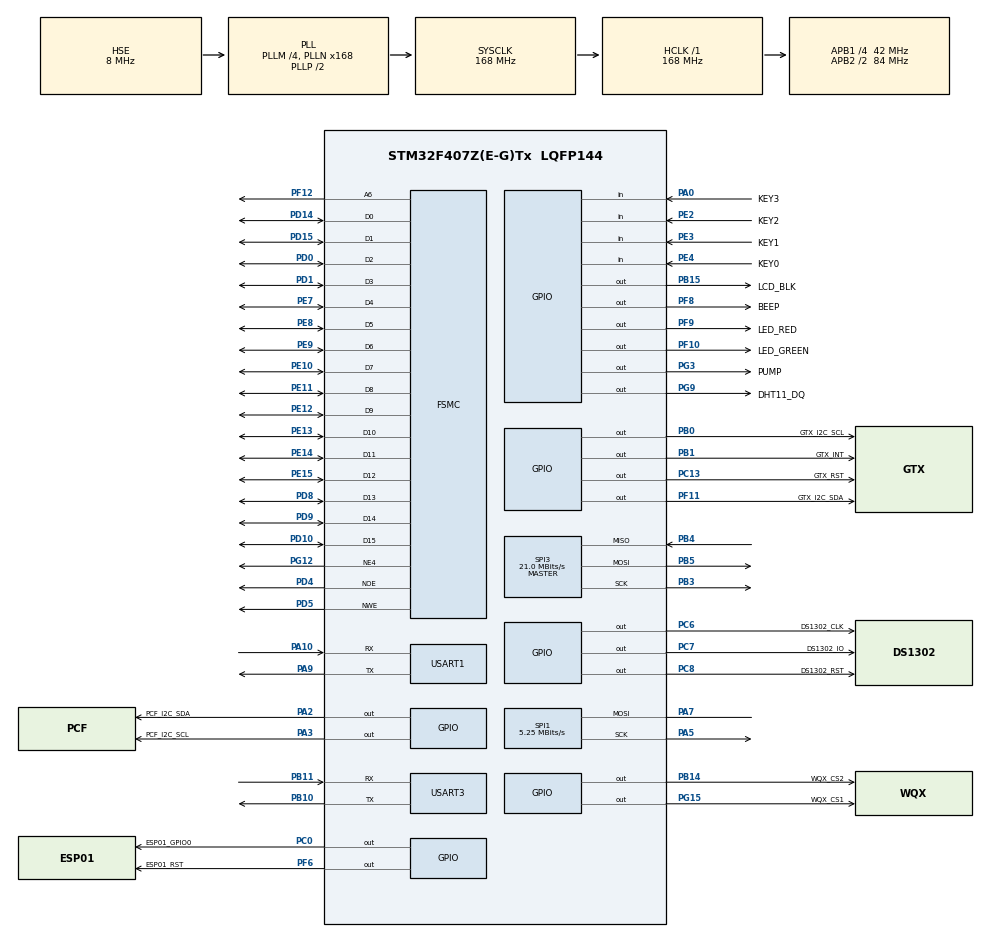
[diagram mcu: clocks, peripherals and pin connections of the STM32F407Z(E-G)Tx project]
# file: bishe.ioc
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Dma.Request0=SPI1_TX
Dma.SPI1_TX.0.Direction=DMA_MEMORY_TO_PERIPH
Dma.SPI1_TX.0.FIFOMode=DMA_FIFOMODE_DISABLE
Dma.SPI1_TX.0.Instance=DMA2_Stream3
Dma.SPI1_TX.0.MemDataAlignment=DMA_MDATAALIGN_BYTE
Dma.SPI1_TX.0.MemInc=DMA_MINC_ENABLE
Dma.SPI1_TX.0.Mode=DMA_NORMAL
Dma.SPI1_TX.0.PeriphDataAlignment=DMA_PDATAALIGN_BYTE
Dma.SPI1_TX.0.PeriphInc=DMA_PINC_DISABLE
Dma.SPI1_TX.0.Priority=DMA_PRIORITY_HIGH
FSMC.BusTurnAroundDuration1=0
FSMC.DataSetupTime1=60
FSMC.ExtendedAddressSetupTime1=9
FSMC.ExtendedBusTurnAroundDuration1=0
FSMC.ExtendedDataSetupTime1=9
FSMC.ExtendedMode1=FSMC_EXTENDED_MODE_ENABLE
Mcu.Family=STM32F4
Mcu.Name=STM32F407Z(E-G)Tx
Mcu.Package=LQFP144
NVIC.DMA2_Stream3_IRQn=true\:0\:0\:false\:false\:true\:false\:true\:true
NVIC.PriorityGroup=NVIC_PRIORITYGROUP_4
NVIC.TIM3_IRQn=true\:5\:0\:true\:false\:true\:true\:true\:true
NVIC.USART3_IRQn=true\:3\:0\:true\:false\:true\:true\:true\:true
PA0-WKUP.GPIO_Label=KEY3
PA0-WKUP.GPIO_PuPd=GPIO_PULLDOWN
PA0-WKUP.Signal=GPIO_Input
PA10.Mode=Asynchronous
PA10.Signal=USART1_RX
PA13.Mode=Serial_Wire
PA13.Signal=SYS_JTMS-SWDIO
PA14.Mode=Serial_Wire
PA14.Signal=SYS_JTCK-SWCLK
PA2.GPIO_Label=PCF_I2C_SDA
PA2.GPIO_ModeDefaultOutputPP=GPIO_MODE_OUTPUT_OD
PA2.GPIO_PuPd=GPIO_PULLUP
PA2.GPIO_Speed=GPIO_SPEED_FREQ_VERY_HIGH
PA2.Signal=GPIO_Output
PA3.GPIO_Label=PCF_I2C_SCL
PA3.GPIO_ModeDefaultOutputPP=GPIO_MODE_OUTPUT_OD
PA3.GPIO_PuPd=GPIO_PULLUP
PA3.GPIO_Speed=GPIO_SPEED_FREQ_VERY_HIGH
PA3.Signal=GPIO_Output
PA5.Mode=Simplex_Bidirectional_Master
PA5.Signal=SPI1_SCK
PA7.Mode=Simplex_Bidirectional_Master
PA7.Signal=SPI1_MOSI
PA9.Mode=Asynchronous
PA9.Signal=USART1_TX
PB0.GPIO_Label=GTX_I2C_SCL
PB0.GPIO_ModeDefaultOutputPP=GPIO_MODE_OUTPUT_OD
PB0.GPIO_PuPd=GPIO_PULLUP
PB0.GPIO_Speed=GPIO_SPEED_FREQ_VERY_HIGH
PB0.Signal=GPIO_Output
PB1.GPIO_Label=GTX_INT
PB1.GPIO_Speed=GPIO_SPEED_FREQ_HIGH
PB1.Signal=GPIO_Output
PB10.Mode=Asynchronous
PB10.Signal=USART3_TX
PB11.Mode=Asynchronous
PB11.Signal=USART3_RX
PB14.GPIO_Label=WQX_CS2
PB14.GPIO_PuPd=GPIO_PULLUP
PB14.GPIO_Speed=GPIO_SPEED_FREQ_VERY_HIGH
PB14.Signal=GPIO_Output
PB15.GPIO_Label=LCD_BLK
PB15.Signal=GPIO_Output
PB3.Mode=Full_Duplex_Master
PB3.Signal=SPI3_SCK
PB4.Mode=Full_Duplex_Master
PB4.Signal=SPI3_MISO
PB5.Mode=Full_Duplex_Master
PB5.Signal=SPI3_MOSI
PC0.GPIO_Label=ESP01_GPIO0
PC0.GPIO_PuPd=GPIO_PULLUP
PC0.GPIO_Speed=GPIO_SPEED_FREQ_HIGH
PC0.PinState=GPIO_PIN_SET
PC0.Signal=GPIO_Output
PC13-ANTI_TAMP.GPIO_Label=GTX_RST
PC13-ANTI_TAMP.Signal=GPIO_Output
PC6.GPIO_Label=DS1302_CLK
PC6.GPIO_Speed=GPIO_SPEED_FREQ_VERY_HIGH
PC6.Signal=GPIO_Output
PC7.GPIO_Label=DS1302_IO
PC7.GPIO_ModeDefaultOutputPP=GPIO_MODE_OUTPUT_PP
PC7.GPIO_PuPd=GPIO_NOPULL
PC7.GPIO_Speed=GPIO_SPEED_FREQ_VERY_HIGH
PC7.Signal=GPIO_Output
PC8.GPIO_Label=DS1302_RST
PC8.GPIO_Speed=GPIO_SPEED_FREQ_VERY_HIGH
PC8.Signal=GPIO_Output
PD0.Signal=FSMC_D2_DA2
PD1.Signal=FSMC_D3_DA3
PD10.Signal=FSMC_D15_DA15
PD14.Signal=FSMC_D0_DA0
PD15.Signal=FSMC_D1_DA1
PD4.Signal=FSMC_NOE
PD5.Signal=FSMC_NWE
PD8.Signal=FSMC_D13_DA13
PD9.Signal=FSMC_D14_DA14
PE10.Signal=FSMC_D7_DA7
PE11.Signal=FSMC_D8_DA8
PE12.Signal=FSMC_D9_DA9
PE13.Signal=FSMC_D10_DA10
PE14.Signal=FSMC_D11_DA11
PE15.Signal=FSMC_D12_DA12
PE2.GPIO_Label=KEY2
PE2.GPIO_PuPd=GPIO_PULLUP
PE2.Signal=GPIO_Input
PE3.GPIO_Label=KEY1
PE3.GPIO_PuPd=GPIO_PULLUP
PE3.Signal=GPIO_Input
PE4.GPIO_Label=KEY0
PE4.GPIO_PuPd=GPIO_PULLUP
PE4.Signal=GPIO_Input
PE7.Signal=FSMC_D4_DA4
PE8.Signal=FSMC_D5_DA5
PE9.Signal=FSMC_D6_DA6
PF10.GPIO_Label=LED_GREEN
PF10.Signal=GPIO_Output
PF11.GPIO_Label=GTX_I2C_SDA
PF11.GPIO_ModeDefaultOutputPP=GPIO_MODE_OUTPUT_OD
PF11.GPIO_PuPd=GPIO_PULLUP
PF11.GPIO_Speed=GPIO_SPEED_FREQ_VERY_HIGH
PF11.Signal=GPIO_Output
PF12.Signal=FSMC_A6
PF6.GPIO_Label=ESP01_RST
PF6.GPIO_PuPd=GPIO_PULLUP
PF6.GPIO_Speed=GPIO_SPEED_FREQ_HIGH
PF6.PinState=GPIO_PIN_SET
PF6.Signal=GPIO_Output
PF8.GPIO_Label=BEEP
PF8.Signal=GPIO_Output
PF9.GPIO_Label=LED_RED
PF9.Signal=GPIO_Output
PG12.Mode=NorPsramChipSelect4_1
PG12.Signal=FSMC_NE4
PG15.GPIO_Label=WQX_CS1
PG15.GPIO_PuPd=GPIO_PULLUP
PG15.GPIO_Speed=GPIO_SPEED_FREQ_VERY_HIGH
PG15.Signal=GPIO_Output
PG3.GPIO_Label=PUMP
PG3.Signal=GPIO_Output
PG9.GPIO_Label=DHT11_DQ
PG9.GPIO_ModeDefaultOutputPP=GPIO_MODE_OUTPUT_OD
PG9.GPIO_PuPd=GPIO_PULLUP
PG9.GPIO_Speed=GPIO_SPEED_FREQ_VERY_HIGH
PG9.Signal=GPIO_Output
PH0-OSC_IN.Mode=HSE-External-Oscillator
PH0-OSC_IN.Signal=RCC_OSC_IN
PH1-OSC_OUT.Mode=HSE-External-Oscillator
PH1-OSC_OUT.Signal=RCC_OSC_OUT
ProjectManager.HeapSize=0x10
ProjectManager.StackSize=0x1000
ProjectManager.TargetToolchain=STM32CubeIDE
RCC.48MHZClocksFreq_Value=84000000
RCC.AHBFreq_Value=168000000
RCC.APB1CLKDivider=RCC_HCLK_DIV4
RCC.APB1Freq_Value=42000000
RCC.APB1TimFreq_Value=84000000
RCC.APB2CLKDivider=RCC_HCLK_DIV2
RCC.APB2Freq_Value=84000000
RCC.APB2TimFreq_Value=168000000
RCC.CortexFreq_Value=168000000
RCC.HCLKFreq_Value=168000000
RCC.HSE_VALUE=8000000
RCC.HSI_VALUE=16000000
RCC.LSE_VALUE=32768
RCC.PLLM=4
RCC.PLLN=168
RCC.PLLSourceVirtual=RCC_PLLSOURCE_HSE
RCC.SYSCLKFreq_VALUE=168000000
RCC.SYSCLKSource=RCC_SYSCLKSOURCE_PLLCLK
RCC.VCOOutputFreq_Value=336000000
SH.FSMC_A6.0=FSMC_A6,A6_1
SH.FSMC_D0_DA0.0=FSMC_D0,16b-d1
SH.FSMC_D10_DA10.0=FSMC_D10,16b-d1
SH.FSMC_D11_DA11.0=FSMC_D11,16b-d1
SH.FSMC_D12_DA12.0=FSMC_D12,16b-d1
SH.FSMC_D13_DA13.0=FSMC_D13,16b-d1
SH.FSMC_D14_DA14.0=FSMC_D14,16b-d1
SH.FSMC_D15_DA15.0=FSMC_D15,16b-d1
SH.FSMC_D1_DA1.0=FSMC_D1,16b-d1
SH.FSMC_D2_DA2.0=FSMC_D2,16b-d1
SH.FSMC_D3_DA3.0=FSMC_D3,16b-d1
SH.FSMC_D4_DA4.0=FSMC_D4,16b-d1
SH.FSMC_D5_DA5.0=FSMC_D5,16b-d1
SH.FSMC_D6_DA6.0=FSMC_D6,16b-d1
SH.FSMC_D7_DA7.0=FSMC_D7,16b-d1
SH.FSMC_D8_DA8.0=FSMC_D8,16b-d1
SH.FSMC_D9_DA9.0=FSMC_D9,16b-d1
SH.FSMC_NOE.0=FSMC_NOE,Lcd1
SH.FSMC_NWE.0=FSMC_NWE,Lcd1
SPI1.BaudRatePrescaler=SPI_BAUDRATEPRESCALER_16
SPI1.CLKPhase=SPI_PHASE_2EDGE
SPI1.CLKPolarity=SPI_POLARITY_HIGH
SPI1.CalculateBaudRate=5.25 MBits/s
SPI1.Direction=SPI_DIRECTION_1LINE
SPI1.Mode=SPI_MODE_MASTER
SPI1.VirtualType=VM_MASTER
SPI3.BaudRatePrescaler=SPI_BAUDRATEPRESCALER_2
SPI3.CalculateBaudRate=21.0 MBits/s
SPI3.Direction=SPI_DIRECTION_2LINES
SPI3.Mode=SPI_MODE_MASTER
SPI3.VirtualType=VM_MASTER
TIM3.Period=5000-1
TIM3.Prescaler=84-1
USART1.VirtualMode=VM_ASYNC
USART3.VirtualMode=VM_ASYNC
VP_TIM3_VS_ClockSourceINT.Mode=Internal
board=custom

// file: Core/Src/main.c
/* USER CODE BEGIN Header */
/**
  ******************************************************************************
  * @file           : main.c
  * @brief          : Main program body
  ******************************************************************************
  * @attention
  *
  * Copyright (c) 2024 STMicroelectronics.
  * All rights reserved.
  *
  * This software is licensed under terms that can be found in the LICENSE file
  * in the root directory of this software component.
  * If no LICENSE file comes with this software, it is provided AS-IS.
  *
  ******************************************************************************
  */
/* USER CODE END Header */
#include "main.h"
#include "dma.h"
#include "spi.h"
#include "tim.h"
#include "usart.h"
#include "gpio.h"
#include "fsmc.h"

/* USER CODE BEGIN Includes */
#include "w25qxx.h"
#include <stdio.h>
#include "sys.h"
#include "lcd.h"
#include "led.h"
#include "key.h"
#include "lv_conf.h"
#include "lvgl.h"
#include "lv_port_disp_template.h"
#include "lv_port_indev_template.h"
#include "fsmain.h"
#include "gt9xxx.h"
#include "gui.h"
#include "dht11.h"
#include "sensor_adc.h"
#include "myiic.h"
#include "ds1302.h"
#include "iot_mqtt.h"
#include "cJSON.h"
#include "beep.h"
#include "ws2812.h"
#include "pump.h"
/* USER CODE END Includes */

void SystemClock_Config(void);

/* USER CODE BEGIN PFP */
extern void myLvglTimerTask(lv_timer_t *tmr);
bool alert_cmp(uint8_t hur, uint8_t min, uint8_t hold_min, uint8_t hold_sec);

/* USER CODE END PFP */

/* USER CODE BEGIN 0 */
SysInfoType SysInfo;
__IO uint16_t tick = 0;
__IO uint8_t time_data[6];
__IO uint8_t start_connect_wifi = 0;
__IO uint8_t wifi_connected_flag = 0; //0默认未连接，1连接成功2连接失败3已经连接
__IO uint8_t LvglDataUpdateFlag = 0;
__IO uint8_t IsReceiveMQTTMsg = 0;
__IO uint8_t dht11_rety_flag = 0;
__IO uint8_t IsTimeUpdate = 0;
__IO uint8_t IsIoTControl = 0;
const char *got_wifi_name = NULL;
const char *got_wifi_psd = NULL;
extern struct __mqtt_receive_info mqtt_recv_info;
extern struct __Head_alert_Info Head_alert_info;

/* USER CODE END 0 */

int main(void) {

  /* MCU Configuration--------------------------------------------------------*/

  /* Reset of all peripherals, Initializes the Flash interface and the Systick. */
  HAL_Init();

  /* Configure the system clock */
  SystemClock_Config();

  /* Initialize all configured peripherals */
  MX_GPIO_Init();
  MX_DMA_Init();
  MX_SPI3_Init();
  MX_USART1_UART_Init();
  MX_TIM3_Init();
  MX_FSMC_Init();
  MX_USART3_UART_Init();
  MX_SPI1_Init();
  /* USER CODE BEGIN 2 */
  iic_init();
  gt9xxx_init();
  led_off();
  WQX_Init();
  lcd_init();
  fs_init();
  DS1302_init();
  if (dht11_init() == 0) {
    printf("dht11 OK\r\n");
  } else
    printf("dht11 error\r\n");

  /// 初始化系统参数
  beep(0);
  pump(0);
  ws2812_led(0);
  SysInfo.sys_mode = 0;
  SysInfo.air_temp_up = 30;
  SysInfo.light_down = 40;
  SysInfo.soil_humid_down = 10;

  /// 锁存ESP模块RST和GPIO0引脚
  HAL_GPIO_LockPin(ESP01_GPIO0_GPIO_Port, ESP01_GPIO0_Pin);
  HAL_GPIO_LockPin(ESP01_RST_GPIO_Port, ESP01_RST_Pin);

  /// 开启串口中断，自动搬运数据至接收缓冲区
  HAL_UART_Receive_IT(&huart3, ut_rx, 1);

  /// LVGL输入输出设备初始化
  lv_init();
  lv_port_disp_init();
  lv_port_indev_init();

  /// lvgl 定时任务
  HAL_TIM_Base_Start_IT(&htim3); //5ms

  /// lvgl 数据刷新任务
  lv_timer_create(myLvglTimerTask, 100, NULL);

  /// Gui界面初始化
  gui_init();

  /// cJson使用 lvgl内存管理函数
  cJSON_Hooks hooks = {lv_mem_alloc, lv_mem_free};
  cJSON_InitHooks(&hooks);

  /* USER CODE END 2 */

  /* Infinite loop */
  while (1) {

    /* USER CODE BEGIN 3 */
    delay_ms(1);

    /// 扫描键盘
    if (tick % 100 == 0) {
      /// uint32_t st = HAL_GetTick();
      update_key();
      /// printf("getkey polling time:%ld\r\n", HAL_GetTick()-st);
    }

    /// 读取DHT11温湿度数据
    if (tick % 500 == 100) {
      ///  dht11_rety_flag ^= 0x01;
      /// uint32_t st = HAL_GetTick();
      dht11_read_data(&SysInfo.air_temp, &SysInfo.air_humid);
      /// printf("temp:%d  humi:%d\r\n", SysInfo.air_temp, SysInfo.air_humid);
      /// printf("dht11 polling time:%ld\r\n", HAL_GetTick()-st);
    }

    /// 读取AD转换值
    if (tick % 500 == 300) {
      /// uint32_t st = HAL_GetTick();
      extern uint8_t ADConver_Res[4];
      PCF_Get_ADC();
      SysInfo.air_light = (256 - ADConver_Res[2]) / 256.0f * 100.0f;
      SysInfo.soil_humid = (256 - ADConver_Res[0]) / 256.0f * 100.0f;
      /// printf("pcf polling time:%ld\r\n", HAL_GetTick()-st);
      /// printf("%d %d %d %d\r\n", ADConver_Res[0], ADConver_Res[1], ADConver_Res[2], ADConver_Res[3]);
      /// printf("light:%d humi:%d\r\n", SysInfo.air_light, SysInfo.soil_humid);
    }

    /// 读取实时时间
    if (tick % 500 == 200) {
      /// uint32_t st = HAL_GetTick();
      DS1302_Readtime();
      SysInfo.hur = time_data[3];
      SysInfo.min = time_data[4];
      SysInfo.sec = time_data[5];
      /// 给LVGL 信号量刷新时
      IsTimeUpdate = 1;
      /// printf("ds1302 polling time:%ld\r\n", HAL_GetTick()-st);
      /// printf("%d %d %d %d %d %d \r\n", time_data[0],time_data[1],time_data[2],time_data[3],time_data[4],time_data[5]);
    }

    /// 开始连接Wi-Fi
    if (start_connect_wifi) {
      start_connect_wifi = 0;
      uint8_t res = WiFi_connect(got_wifi_name, got_wifi_psd);
      if (res == 0) {
        res = mqtt_connect();
        if (res == 0) {
          wifi_connected_flag = 1;
        } else {
          wifi_connected_flag = 2;
          printf("mqtt connect error: %d\r\n", res);
        }
      } else {
        wifi_connected_flag = 2;
        printf("wifi connect error :%d\r\n", res);
      }
    }

    /// 如果 WiFi 连接成功 监听 订阅数据
    if (wifi_connected_flag == 3 && tick % 500 == 100) {
      mqtt_monitor();
    }

    /// 无条件向云端上传数据
     if (tick == 330 && wifi_connected_flag == 3) {
       mqtt_data_update(SysInfo.air_temp, SysInfo.soil_humid, SysInfo.air_light);
     }
     if (tick == 660 && wifi_connected_flag == 3) {
       mqtt_sta_update(SysInfo.sta_pump, SysInfo.sta_bulb, SysInfo.sta_beep);
     }
     if (tick == 990 && wifi_connected_flag == 3) {
       mqtt_threshold_update(SysInfo.air_temp_up, SysInfo.soil_humid_down, SysInfo.light_down);
     }

    /// 自动模式 控制
    if (SysInfo.sys_mode == 0) {
      /// 给lvgl 数据刷新任务 信号
      if (tick % 250 == 0) {
        LvglDataUpdateFlag = 1;
      }
      if (IsReceiveMQTTMsg) {
        IsReceiveMQTTMsg = 0;
        printf("rev mqtt data\r\n");

        /// 自动模式可以接收 网络阈值
        if (mqtt_recv_info.IsAirTempUpData) {
          SysInfo.air_temp_up = mqtt_recv_info.AirTempUp;
          mqtt_recv_info.IsAirTempUpData = false;
        }
        if (mqtt_recv_info.IsSoilHumidDownData) {
          SysInfo.soil_humid_down = mqtt_recv_info.SoilHumidDown;
          mqtt_recv_info.IsSoilHumidDownData = false;
        }
        if (mqtt_recv_info.IsLightDownData) {
          SysInfo.light_down = mqtt_recv_info.LightDown;
          mqtt_recv_info.IsLightDownData = false;
        }
      }

      /// 温度控制
      if (SysInfo.air_temp_up < SysInfo.air_temp) {
        /// 供水 提示
        SysInfo.sta_beep = 1;
      } else {
        SysInfo.sta_beep = 0;
      }
      /// 光照控制
      if (SysInfo.light_down > SysInfo.air_light) {
        SysInfo.sta_bulb = 1;
      } else {
        SysInfo.sta_bulb = 0;
      }
      /// 湿度控制
      if (SysInfo.soil_humid < SysInfo.soil_humid_down) {
        SysInfo.sta_pump = 1;
      } else {
        SysInfo.sta_pump = 0;
      }

      /// 闹钟控制 优先级大于 自动规则
      if (Head_alert_info.num_alert) {
        Alert_Body_Type *opt = Head_alert_info.first;
        for (int i = 0; i < Head_alert_info.num_alert; i++) {
          if (opt->event_alerting) {
            if (alert_cmp(opt->time_alert.hur, opt->time_alert.min, opt->time_hold.min, opt->time_hold.sec)) {
              SysInfo.sta_beep = 1;
            } else {
              SysInfo.sta_beep = 0;
            }
          } else if (opt->event_lighting) {
            if (alert_cmp(opt->time_alert.hur, opt->time_alert.min, opt->time_hold.min, opt->time_hold.sec)) {
              SysInfo.sta_bulb = 1;
            } else {
              SysInfo.sta_bulb = 0;
            }
          } else if (opt->event_pumping) {
            if (alert_cmp(opt->time_alert.hur, opt->time_alert.min, opt->time_hold.min, opt->time_hold.sec)) {
              SysInfo.sta_pump = 1;
            } else {
              SysInfo.sta_pump = 0;
            }
          }
          opt = opt->next;
        }
      }
    } else {

      /// 手动模式才能网络控制
      if (mqtt_recv_info.IsIotControl && IsReceiveMQTTMsg) {
        IsReceiveMQTTMsg = 0;
        IsIoTControl = mqtt_recv_info.IotControl;
        mqtt_recv_info.IsIotControl = false;
      }

      /// 手动控制
      if (IsIoTControl) {
        if (mqtt_recv_info.IsStatePumpData) {
          SysInfo.sta_pump = mqtt_recv_info.StatePump;
          mqtt_recv_info.IsStatePumpData = false;
        }
        if (mqtt_recv_info.IsStateBeepData) {
          SysInfo.sta_beep = mqtt_recv_info.StateBeep;
          mqtt_recv_info.IsStateBeepData = false;
        }
        if (mqtt_recv_info.IsStateBulbData) {
          SysInfo.sta_bulb = mqtt_recv_info.StateBulb;
          mqtt_recv_info.IsStateBulbData = false;
        }
      }
    }

    SysInfo.sta_pump ? pump(1) : pump(0);
    SysInfo.sta_bulb ? ws2812_led(250) : ws2812_led(0);
    SysInfo.sta_beep ? beep(1) : beep(0);

    tick++;
    if (tick == 1000) {
      tick = 0;
    }
  }
  /* USER CODE END 3 */
}

void SystemClock_Config(void) {
  RCC_OscInitTypeDef RCC_OscInitStruct = {0};
  RCC_ClkInitTypeDef RCC_ClkInitStruct = {0};

  /** Configure the main internal regulator output voltage
  */
  __HAL_RCC_PWR_CLK_ENABLE();
  __HAL_PWR_VOLTAGESCALING_CONFIG(PWR_REGULATOR_VOLTAGE_SCALE1);

  /** Initializes the RCC Oscillators according to the specified parameters
  * in the RCC_OscInitTypeDef structure.
  */
  RCC_OscInitStruct.OscillatorType = RCC_OSCILLATORTYPE_HSE;
  RCC_OscInitStruct.HSEState = RCC_HSE_ON;
  RCC_OscInitStruct.PLL.PLLState = RCC_PLL_ON;
  RCC_OscInitStruct.PLL.PLLSource = RCC_PLLSOURCE_HSE;
  RCC_OscInitStruct.PLL.PLLM = 4;
  RCC_OscInitStruct.PLL.PLLN = 168;
  RCC_OscInitStruct.PLL.PLLP = RCC_PLLP_DIV2;
  RCC_OscInitStruct.PLL.PLLQ = 4;
  if (HAL_RCC_OscConfig(&RCC_OscInitStruct) != HAL_OK) {
    Error_Handler();
  }

  /** Initializes the CPU, AHB and APB buses clocks
  */
  RCC_ClkInitStruct.ClockType = RCC_CLOCKTYPE_HCLK | RCC_CLOCKTYPE_SYSCLK
                                | RCC_CLOCKTYPE_PCLK1 | RCC_CLOCKTYPE_PCLK2;
  RCC_ClkInitStruct.SYSCLKSource = RCC_SYSCLKSOURCE_PLLCLK;
  RCC_ClkInitStruct.AHBCLKDivider = RCC_SYSCLK_DIV1;
  RCC_ClkInitStruct.APB1CLKDivider = RCC_HCLK_DIV4;
  RCC_ClkInitStruct.APB2CLKDivider = RCC_HCLK_DIV2;

  if (HAL_RCC_ClockConfig(&RCC_ClkInitStruct, FLASH_LATENCY_5) != HAL_OK) {
    Error_Handler();
  }
}

/* USER CODE BEGIN 4 */

/// 检查 此时是否在于闹钟时间
bool alert_cmp(uint8_t hur, uint8_t min, uint8_t hold_min, uint8_t hold_sec) {
  uint32_t sec_s = hur * 3600 + min * 60;
  uint32_t sec_e = sec_s + hold_min * 60 + hold_sec;
  uint32_t sec_crt = SysInfo.hur * 3600 + SysInfo.min * 60 + SysInfo.sec;
  if (sec_crt >= sec_s && sec_crt <= sec_e) {
    return true;
  } else return false;
}

/* USER CODE END 4 */

void Error_Handler(void) {
  __disable_irq();
  while (1) {
  }
}
